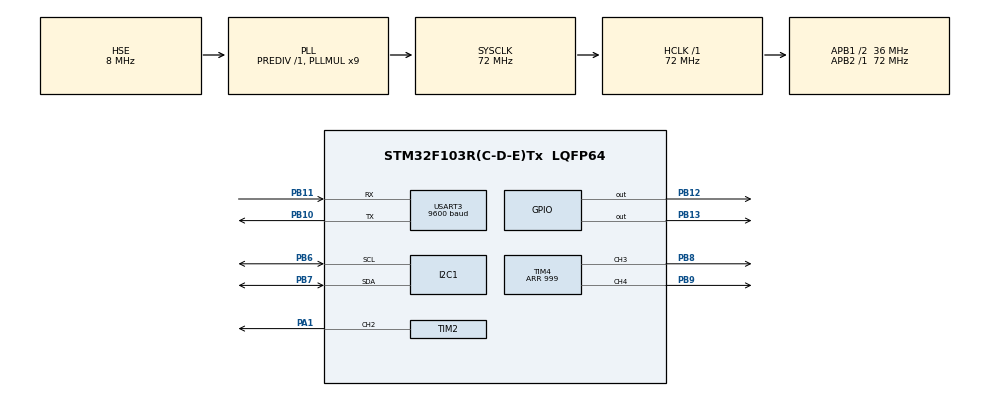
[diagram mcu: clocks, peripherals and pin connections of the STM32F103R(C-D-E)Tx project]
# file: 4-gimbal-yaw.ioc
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I2C1.I2C_Mode=I2C_Fast
Mcu.Family=STM32F1
Mcu.Name=STM32F103R(C-D-E)Tx
Mcu.Package=LQFP64
NVIC.PriorityGroup=NVIC_PRIORITYGROUP_4
NVIC.TIM1_UP_IRQn=true\:0\:0\:false\:false\:true\:true\:true\:true
PA1.Signal=S_TIM2_CH2
PA13.Mode=Serial_Wire
PA13.Signal=SYS_JTMS-SWDIO
PA14.Mode=Serial_Wire
PA14.Signal=SYS_JTCK-SWCLK
PB10.Mode=Asynchronous
PB10.Signal=USART3_TX
PB11.Mode=Asynchronous
PB11.Signal=USART3_RX
PB12.Signal=GPIO_Output
PB13.Signal=GPIO_Output
PB6.Mode=I2C
PB6.Signal=I2C1_SCL
PB7.Mode=I2C
PB7.Signal=I2C1_SDA
PB8.Signal=S_TIM4_CH3
PB9.Signal=S_TIM4_CH4
PD0-OSC_IN.Mode=HSE-External-Oscillator
PD0-OSC_IN.Signal=RCC_OSC_IN
PD1-OSC_OUT.Mode=HSE-External-Oscillator
PD1-OSC_OUT.Signal=RCC_OSC_OUT
ProjectManager.HeapSize=0x200
ProjectManager.StackSize=0x400
ProjectManager.TargetToolchain=STM32CubeIDE
RCC.AHBFreq_Value=72000000
RCC.APB1CLKDivider=RCC_HCLK_DIV2
RCC.APB1Freq_Value=36000000
RCC.APB1TimFreq_Value=72000000
RCC.APB2Freq_Value=72000000
RCC.APB2TimFreq_Value=72000000
RCC.HCLKFreq_Value=72000000
RCC.PLLMUL=RCC_PLL_MUL9
RCC.PLLSourceVirtual=RCC_PLLSOURCE_HSE
RCC.SYSCLKFreq_VALUE=72000000
RCC.SYSCLKSource=RCC_SYSCLKSOURCE_PLLCLK
RCC.USBFreq_Value=72000000
SH.S_TIM2_CH2.0=TIM2_CH2,PWM Generation2 CH2
SH.S_TIM4_CH3.0=TIM4_CH3,PWM Generation3 CH3
SH.S_TIM4_CH4.0=TIM4_CH4,PWM Generation4 CH4
TIM1.Period=999
TIM1.Prescaler=71
TIM2.Channel-PWM\ Generation2\ CH2=TIM_CHANNEL_2
TIM2.Period=999
TIM4.Channel-PWM\ Generation3\ CH3=TIM_CHANNEL_3
TIM4.Channel-PWM\ Generation4\ CH4=TIM_CHANNEL_4
TIM4.Period=999
USART3.BaudRate=9600
USART3.VirtualMode=VM_ASYNC
VP_TIM1_VS_ClockSourceINT.Mode=Internal
board=custom

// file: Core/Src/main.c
/* USER CODE BEGIN Header */
/**
  ******************************************************************************
  * @file           : main.c
  * @brief          : Main program body
  ******************************************************************************
  * @attention
  *
  * Copyright (c) 2026 STMicroelectronics.
  * All rights reserved.
  *
  * This software is licensed under terms that can be found in the LICENSE file
  * in the root directory of this software component.
  * If no LICENSE file comes with this software, it is provided AS-IS.
  *
  ******************************************************************************
  */
/* USER CODE END Header */
#include "main.h"

/* USER CODE BEGIN Includes */
#include "mpu6050.h"
#include "pid.h"
#include <math.h>
/* USER CODE END Includes */

I2C_HandleTypeDef hi2c1;

TIM_HandleTypeDef htim1;
TIM_HandleTypeDef htim2;
TIM_HandleTypeDef htim4;

UART_HandleTypeDef huart3;

/* USER CODE BEGIN PV */
#define PWM_ARR        999      /* must match TIM2/TIM4 Period */
#define CTRL_DT        0.001f  /* 1 kHz control loop          */
#define YAW_KP         1.0f
#define YAW_KI         0.01f
#define YAW_KD         0.03f
#define MOTOR_STRENGTH 45.0f   /* 0..100 % */

static MPU_Handle mpu;
static PID_Handle pid_yaw;
static MPU_Orientation orientation;
static float elec_angle = 0.0f;   /* motor electrical angle, 0..360 deg */
static float yaw_angle  = 0.0f;   /* integrated yaw from gyro, deg      */
/* USER CODE END PV */

void SystemClock_Config(void);
static void MX_GPIO_Init(void);
static void MX_I2C1_Init(void);
static void MX_TIM2_Init(void);
static void MX_TIM4_Init(void);
static void MX_TIM1_Init(void);
static void MX_USART3_UART_Init(void);

int main(void)
{

  /* MCU Configuration--------------------------------------------------------*/

  /* Reset of all peripherals, Initializes the Flash interface and the Systick. */
  HAL_Init();

  /* Configure the system clock */
  SystemClock_Config();

  /* Initialize all configured peripherals */
  MX_GPIO_Init();
  MX_I2C1_Init();
  MX_TIM2_Init();
  MX_TIM4_Init();
  MX_TIM1_Init();
  MX_USART3_UART_Init();
  /* USER CODE BEGIN 2 */
  /* Power-on LED */
  HAL_GPIO_WritePin(GPIOB, GPIO_PIN_13, GPIO_PIN_SET);

  /* Init MPU6050 — board IMU on I2C1, addr 0x69 */
  if (!MPU_Init(&mpu, &hi2c1, MPU_GYRO_500DPS, MPU_ACCEL_4G))
  {
    /* IMU not found — blink error forever */
    while (1) { HAL_GPIO_TogglePin(GPIOB, GPIO_PIN_12); HAL_Delay(100); }
  }
  HAL_GPIO_WritePin(GPIOB, GPIO_PIN_12, GPIO_PIN_SET); // Turn on LED to show calibration
  MPU_Calibrate(&mpu, 2000);   /* ~1 s, keep board stationary */
  HAL_GPIO_WritePin(GPIOB, GPIO_PIN_12, GPIO_PIN_RESET); // LED off

  /* PID for yaw axis */
  PID_Init(&pid_yaw, YAW_KP, YAW_KI, YAW_KD, 30.0f, 90.0f);

  /* Start PWM outputs — Mot2 Yaw: TIM4_CH4, TIM2_CH2, TIM4_CH3 */
  HAL_TIM_PWM_Start(&htim4, TIM_CHANNEL_4);  /* PB9 */
  HAL_TIM_PWM_Start(&htim2, TIM_CHANNEL_2);  /* PA1 */
  HAL_TIM_PWM_Start(&htim4, TIM_CHANNEL_3);  /* PB8 */

  /* Start 1 kHz control-loop interrupt on TIM1
   * NOTE: TIM1 must be configured with Prescaler=71, Period=999 in .ioc
   * (72 MHz / 72 / 1000 = 1 kHz). Current .ioc has Prescaler=0 — fix it. */
  HAL_TIM_Base_Start_IT(&htim1);
  /* USER CODE END 2 */

  /* Infinite loop */
  while (1)
  {

  }
}

void SystemClock_Config(void)
{
  RCC_OscInitTypeDef RCC_OscInitStruct = {0};
  RCC_ClkInitTypeDef RCC_ClkInitStruct = {0};

  /** Initializes the RCC Oscillators according to the specified parameters
  * in the RCC_OscInitTypeDef structure.
  */
  RCC_OscInitStruct.OscillatorType = RCC_OSCILLATORTYPE_HSE;
  RCC_OscInitStruct.HSEState = RCC_HSE_ON;
  RCC_OscInitStruct.HSEPredivValue = RCC_HSE_PREDIV_DIV1;
  RCC_OscInitStruct.HSIState = RCC_HSI_ON;
  RCC_OscInitStruct.PLL.PLLState = RCC_PLL_ON;
  RCC_OscInitStruct.PLL.PLLSource = RCC_PLLSOURCE_HSE;
  RCC_OscInitStruct.PLL.PLLMUL = RCC_PLL_MUL9;
  if (HAL_RCC_OscConfig(&RCC_OscInitStruct) != HAL_OK)
  {
    Error_Handler();
  }

  /** Initializes the CPU, AHB and APB buses clocks
  */
  RCC_ClkInitStruct.ClockType = RCC_CLOCKTYPE_HCLK|RCC_CLOCKTYPE_SYSCLK
                              |RCC_CLOCKTYPE_PCLK1|RCC_CLOCKTYPE_PCLK2;
  RCC_ClkInitStruct.SYSCLKSource = RCC_SYSCLKSOURCE_PLLCLK;
  RCC_ClkInitStruct.AHBCLKDivider = RCC_SYSCLK_DIV1;
  RCC_ClkInitStruct.APB1CLKDivider = RCC_HCLK_DIV2;
  RCC_ClkInitStruct.APB2CLKDivider = RCC_HCLK_DIV1;

  if (HAL_RCC_ClockConfig(&RCC_ClkInitStruct, FLASH_LATENCY_2) != HAL_OK)
  {
    Error_Handler();
  }
}

static void MX_I2C1_Init(void)
{

  hi2c1.Instance = I2C1;
  hi2c1.Init.ClockSpeed = 400000;
  hi2c1.Init.DutyCycle = I2C_DUTYCYCLE_2;
  hi2c1.Init.OwnAddress1 = 0;
  hi2c1.Init.AddressingMode = I2C_ADDRESSINGMODE_7BIT;
  hi2c1.Init.DualAddressMode = I2C_DUALADDRESS_DISABLE;
  hi2c1.Init.OwnAddress2 = 0;
  hi2c1.Init.GeneralCallMode = I2C_GENERALCALL_DISABLE;
  hi2c1.Init.NoStretchMode = I2C_NOSTRETCH_DISABLE;
  if (HAL_I2C_Init(&hi2c1) != HAL_OK)
  {
    Error_Handler();
  }

}

static void MX_TIM1_Init(void)
{

  TIM_ClockConfigTypeDef sClockSourceConfig = {0};
  TIM_MasterConfigTypeDef sMasterConfig = {0};

  htim1.Instance = TIM1;
  htim1.Init.Prescaler = 71;
  htim1.Init.CounterMode = TIM_COUNTERMODE_UP;
  htim1.Init.Period = 999;
  htim1.Init.ClockDivision = TIM_CLOCKDIVISION_DIV1;
  htim1.Init.RepetitionCounter = 0;
  htim1.Init.AutoReloadPreload = TIM_AUTORELOAD_PRELOAD_DISABLE;
  if (HAL_TIM_Base_Init(&htim1) != HAL_OK)
  {
    Error_Handler();
  }
  sClockSourceConfig.ClockSource = TIM_CLOCKSOURCE_INTERNAL;
  if (HAL_TIM_ConfigClockSource(&htim1, &sClockSourceConfig) != HAL_OK)
  {
    Error_Handler();
  }
  sMasterConfig.MasterOutputTrigger = TIM_TRGO_RESET;
  sMasterConfig.MasterSlaveMode = TIM_MASTERSLAVEMODE_DISABLE;
  if (HAL_TIMEx_MasterConfigSynchronization(&htim1, &sMasterConfig) != HAL_OK)
  {
    Error_Handler();
  }

}

static void MX_TIM2_Init(void)
{

  TIM_MasterConfigTypeDef sMasterConfig = {0};
  TIM_OC_InitTypeDef sConfigOC = {0};

  htim2.Instance = TIM2;
  htim2.Init.Prescaler = 0;
  htim2.Init.CounterMode = TIM_COUNTERMODE_UP;
  htim2.Init.Period = 999;
  htim2.Init.ClockDivision = TIM_CLOCKDIVISION_DIV1;
  htim2.Init.AutoReloadPreload = TIM_AUTORELOAD_PRELOAD_DISABLE;
  if (HAL_TIM_PWM_Init(&htim2) != HAL_OK)
  {
    Error_Handler();
  }
  sMasterConfig.MasterOutputTrigger = TIM_TRGO_RESET;
  sMasterConfig.MasterSlaveMode = TIM_MASTERSLAVEMODE_DISABLE;
  if (HAL_TIMEx_MasterConfigSynchronization(&htim2, &sMasterConfig) != HAL_OK)
  {
    Error_Handler();
  }
  sConfigOC.OCMode = TIM_OCMODE_PWM1;
  sConfigOC.Pulse = 0;
  sConfigOC.OCPolarity = TIM_OCPOLARITY_HIGH;
  sConfigOC.OCFastMode = TIM_OCFAST_DISABLE;
  if (HAL_TIM_PWM_ConfigChannel(&htim2, &sConfigOC, TIM_CHANNEL_2) != HAL_OK)
  {
    Error_Handler();
  }
  HAL_TIM_MspPostInit(&htim2);

}

static void MX_TIM4_Init(void)
{

  TIM_MasterConfigTypeDef sMasterConfig = {0};
  TIM_OC_InitTypeDef sConfigOC = {0};

  htim4.Instance = TIM4;
  htim4.Init.Prescaler = 0;
  htim4.Init.CounterMode = TIM_COUNTERMODE_UP;
  htim4.Init.Period = 999;
  htim4.Init.ClockDivision = TIM_CLOCKDIVISION_DIV1;
  htim4.Init.AutoReloadPreload = TIM_AUTORELOAD_PRELOAD_DISABLE;
  if (HAL_TIM_PWM_Init(&htim4) != HAL_OK)
  {
    Error_Handler();
  }
  sMasterConfig.MasterOutputTrigger = TIM_TRGO_RESET;
  sMasterConfig.MasterSlaveMode = TIM_MASTERSLAVEMODE_DISABLE;
  if (HAL_TIMEx_MasterConfigSynchronization(&htim4, &sMasterConfig) != HAL_OK)
  {
    Error_Handler();
  }
  sConfigOC.OCMode = TIM_OCMODE_PWM1;
  sConfigOC.Pulse = 0;
  sConfigOC.OCPolarity = TIM_OCPOLARITY_HIGH;
  sConfigOC.OCFastMode = TIM_OCFAST_DISABLE;
  if (HAL_TIM_PWM_ConfigChannel(&htim4, &sConfigOC, TIM_CHANNEL_3) != HAL_OK)
  {
    Error_Handler();
  }
  if (HAL_TIM_PWM_ConfigChannel(&htim4, &sConfigOC, TIM_CHANNEL_4) != HAL_OK)
  {
    Error_Handler();
  }
  HAL_TIM_MspPostInit(&htim4);

}

static void MX_USART3_UART_Init(void)
{

  huart3.Instance = USART3;
  huart3.Init.BaudRate = 9600;
  huart3.Init.WordLength = UART_WORDLENGTH_8B;
  huart3.Init.StopBits = UART_STOPBITS_1;
  huart3.Init.Parity = UART_PARITY_NONE;
  huart3.Init.Mode = UART_MODE_TX_RX;
  huart3.Init.HwFlowCtl = UART_HWCONTROL_NONE;
  huart3.Init.OverSampling = UART_OVERSAMPLING_16;
  if (HAL_UART_Init(&huart3) != HAL_OK)
  {
    Error_Handler();
  }

}

static void MX_GPIO_Init(void)
{
  GPIO_InitTypeDef GPIO_InitStruct = {0};

  /* GPIO Ports Clock Enable */
  __HAL_RCC_GPIOD_CLK_ENABLE();
  __HAL_RCC_GPIOA_CLK_ENABLE();
  __HAL_RCC_GPIOB_CLK_ENABLE();

  /*Configure GPIO pin Output Level */
  HAL_GPIO_WritePin(GPIOB, GPIO_PIN_12|GPIO_PIN_13, GPIO_PIN_RESET);

  /*Configure GPIO pins : PB12 PB13 */
  GPIO_InitStruct.Pin = GPIO_PIN_12|GPIO_PIN_13;
  GPIO_InitStruct.Mode = GPIO_MODE_OUTPUT_PP;
  GPIO_InitStruct.Pull = GPIO_NOPULL;
  GPIO_InitStruct.Speed = GPIO_SPEED_FREQ_LOW;
  HAL_GPIO_Init(GPIOB, &GPIO_InitStruct);

}

/* USER CODE BEGIN 4 */
void MPU_GetOrientation_Fixed(MPU_Handle *mpu, MPU_Data *data, MPU_Orientation *ori, float dt)
{
    // Calculate Roll and Pitch from Accelerometer
    float roll_acc  = atan2f(data->ay, data->az) * 57.29578f;
    float pitch_acc = atan2f(-data->ax, sqrtf(data->ay * data->ay + data->az * data->az)) * 57.29578f;

    // Filter Constant: At 1kHz, 0.999 provides a stable ~1sec time constant
    const float alpha = 0.999f;

    // Complementary Filter
    ori->roll  = alpha * (ori->roll  + data->gx * dt) + (1.0f - alpha) * roll_acc;
    ori->pitch = alpha * (ori->pitch + data->gy * dt) + (1.0f - alpha) * pitch_acc;
}

/* ---- helper: sine-wave phase → PWM CCR value ---- */
static uint32_t sine_to_ccr(float angle_rad, float norm)
{
    float s = (sinf(angle_rad) + 1.0f) * 0.5f;  /* 0..1 */
    s *= norm;
    uint32_t ccr = (uint32_t)(s * (float)PWM_ARR);
    if (ccr > PWM_ARR) ccr = PWM_ARR;
    return ccr;
}

#define DEG2RAD(x) ((x) * 3.14159265f / 180.0f)

/* ---- TIM1 update interrupt — 1 kHz control loop ---- */
void HAL_TIM_PeriodElapsedCallback(TIM_HandleTypeDef *htim)
{
    if (htim->Instance != TIM1) return;

    /* 1. Read all scaled sensor data (Accel + Gyro) */
    MPU_Data d;
    MPU_ReadScaled(&mpu, &d);

    /* 2. Update Pitch and Roll using Complementary Filter */
    MPU_GetOrientation_Fixed(&mpu, &d, &orientation, CTRL_DT);

    /* 2. Gyro Deadband: ignore tiny values that are likely just noise */
    if (fabsf(d.gz) < 0.05f) d.gz = 0.0f;

    /* 3. Integrate yaw angle (Gyro only, as Accel can't sense Yaw) */
    yaw_angle += d.gz * CTRL_DT;

    /* Wrap yaw to ±180° */
    if (yaw_angle >  180.0f) yaw_angle -= 360.0f;
    if (yaw_angle < -180.0f) yaw_angle += 360.0f;

    /* 4. PID: target = 0 deg (hold heading), measured = yaw_angle */
    float cmd = PID_Compute(&pid_yaw, 0.0f, yaw_angle, CTRL_DT);

    /* 5. Accumulate electrical angle for Motor PWM */
    elec_angle += cmd * CTRL_DT;
    if (elec_angle >= 360.0f) elec_angle -= 360.0f;
    if (elec_angle <    0.0f) elec_angle += 360.0f;

    /* 6. Write sinusoidal phases — Mot2 Yaw */
    float norm = MOTOR_STRENGTH / 100.0f;
    float a = DEG2RAD(elec_angle);
    float b = DEG2RAD(elec_angle + 120.0f);
    float c = DEG2RAD(elec_angle + 240.0f);

    __HAL_TIM_SET_COMPARE(&htim4, TIM_CHANNEL_4, sine_to_ccr(a, norm));
    __HAL_TIM_SET_COMPARE(&htim2, TIM_CHANNEL_2, sine_to_ccr(b, norm));
    __HAL_TIM_SET_COMPARE(&htim4, TIM_CHANNEL_3, sine_to_ccr(c, norm));
}
/* USER CODE END 4 */

void Error_Handler(void)
{
  __disable_irq();
  while (1)
  {
  }
}
